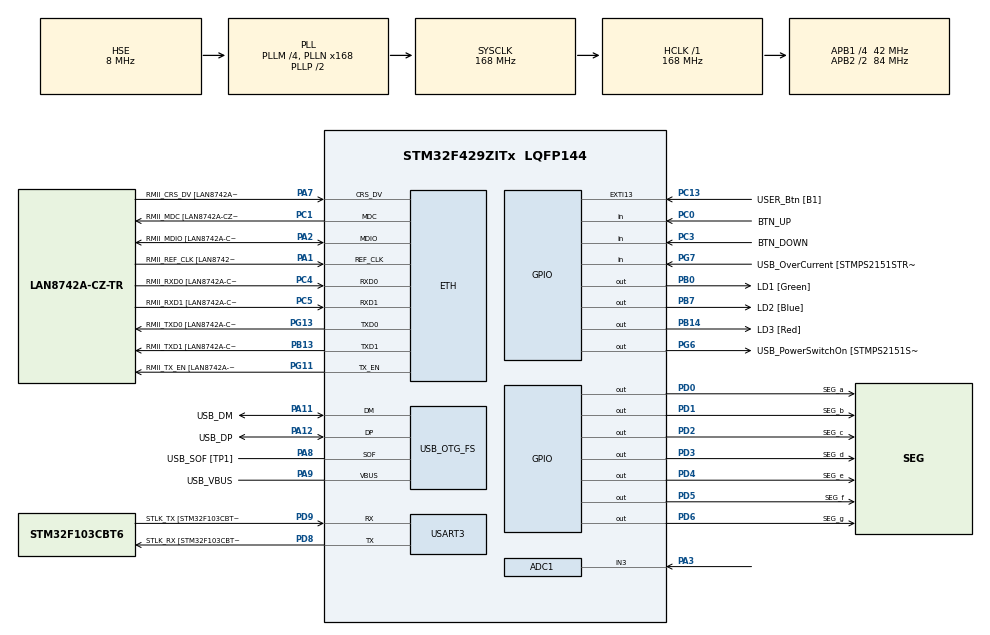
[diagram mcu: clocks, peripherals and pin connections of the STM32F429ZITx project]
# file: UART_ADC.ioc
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ADC1.Channel-0\#ChannelRegularConversion=ADC_CHANNEL_3
ADC1.NbrOfConversionFlag=1
ADC1.Rank-0\#ChannelRegularConversion=1
ADC1.SamplingTime-0\#ChannelRegularConversion=ADC_SAMPLETIME_3CYCLES
ADC1.master=1
ETH.MediaInterface=HAL_ETH_RMII_MODE
ETH.PHY_Name=LAN8742A_PHY_ADDRESS
ETH.PHY_Value=0
ETH.PhyAddress=0
Mcu.Family=STM32F4
Mcu.Name=STM32F429ZITx
Mcu.Package=LQFP144
NVIC.EXTI15_10_IRQn=true\:0\:0\:false\:true\:true\:2\:true\:true\:true
NVIC.PriorityGroup=NVIC_PRIORITYGROUP_4
NVIC.USART3_IRQn=true\:0\:0\:false\:true\:true\:1\:true\:true\:true
PA1.GPIO_Label=RMII_REF_CLK [LAN8742A-CZ-TR_REFCLK0]
PA1.Mode=RMII
PA1.Signal=ETH_REF_CLK
PA10.GPIO_Label=USB_ID
PA10.Signal=USB_OTG_FS_ID
PA11.GPIO_Label=USB_DM
PA11.Mode=Device_Only
PA11.Signal=USB_OTG_FS_DM
PA12.GPIO_Label=USB_DP
PA12.Mode=Device_Only
PA12.Signal=USB_OTG_FS_DP
PA13.GPIO_Label=TMS
PA13.Mode=Serial_Wire
PA13.Signal=SYS_JTMS-SWDIO
PA14.GPIO_Label=TCK
PA14.Mode=Serial_Wire
PA14.Signal=SYS_JTCK-SWCLK
PA2.GPIO_Label=RMII_MDIO [LAN8742A-CZ-TR_MDIO]
PA2.Mode=RMII
PA2.Signal=ETH_MDIO
PA3.Signal=ADCx_IN3
PA7.GPIO_Label=RMII_CRS_DV [LAN8742A-CZ-TR_CRS_DV]
PA7.Mode=RMII
PA7.Signal=ETH_CRS_DV
PA8.GPIO_Label=USB_SOF [TP1]
PA8.Mode=Activate_SOF_FS
PA8.Signal=USB_OTG_FS_SOF
PA9.GPIO_Label=USB_VBUS
PA9.Mode=Activate_VBUS
PA9.Signal=USB_OTG_FS_VBUS
PB0.GPIO_Label=LD1 [Green]
PB0.Signal=GPIO_Output
PB13.GPIO_Label=RMII_TXD1 [LAN8742A-CZ-TR_TXD1]
PB13.Mode=RMII
PB13.Signal=ETH_TXD1
PB14.GPIO_Label=LD3 [Red]
PB14.Signal=GPIO_Output
PB7.GPIO_Label=LD2 [Blue]
PB7.Signal=GPIO_Output
PC0.GPIO_Label=BTN_UP
PC0.GPIO_PuPd=GPIO_PULLUP
PC0.Signal=GPIO_Input
PC1.GPIO_Label=RMII_MDC [LAN8742A-CZ-TR_MDC]
PC1.Mode=RMII
PC1.Signal=ETH_MDC
PC13.GPIO_Label=USER_Btn [B1]
PC13.Signal=GPXTI13
PC14/OSC32_IN.Mode=LSE-External-Oscillator
PC14/OSC32_IN.Signal=RCC_OSC32_IN
PC15/OSC32_OUT.Mode=LSE-External-Oscillator
PC15/OSC32_OUT.Signal=RCC_OSC32_OUT
PC3.GPIO_Label=BTN_DOWN
PC3.GPIO_PuPd=GPIO_PULLUP
PC3.Signal=GPIO_Input
PC4.GPIO_Label=RMII_RXD0 [LAN8742A-CZ-TR_RXD0]
PC4.Mode=RMII
PC4.Signal=ETH_RXD0
PC5.GPIO_Label=RMII_RXD1 [LAN8742A-CZ-TR_RXD1]
PC5.Mode=RMII
PC5.Signal=ETH_RXD1
PD0.GPIO_Label=SEG_a
PD0.GPIO_PuPd=GPIO_NOPULL
PD0.Signal=GPIO_Output
PD1.GPIO_Label=SEG_b
PD1.GPIO_PuPd=GPIO_NOPULL
PD1.Signal=GPIO_Output
PD2.GPIO_Label=SEG_c
PD2.GPIO_PuPd=GPIO_NOPULL
PD2.Signal=GPIO_Output
PD3.GPIO_Label=SEG_d
PD3.GPIO_PuPd=GPIO_NOPULL
PD3.Signal=GPIO_Output
PD4.GPIO_Label=SEG_e
PD4.GPIO_PuPd=GPIO_NOPULL
PD4.Signal=GPIO_Output
PD5.GPIO_Label=SEG_f
PD5.GPIO_PuPd=GPIO_NOPULL
PD5.Signal=GPIO_Output
PD6.GPIO_Label=SEG_g
PD6.GPIO_PuPd=GPIO_NOPULL
PD6.Signal=GPIO_Output
PD8.GPIO_Label=STLK_RX [STM32F103CBT6_PA3]
PD8.Mode=Asynchronous
PD8.Signal=USART3_TX
PD9.GPIO_Label=STLK_TX [STM32F103CBT6_PA2]
PD9.Mode=Asynchronous
PD9.Signal=USART3_RX
PG11.GPIO_Label=RMII_TX_EN [LAN8742A-CZ-TR_TXEN]
PG11.Mode=RMII
PG11.Signal=ETH_TX_EN
PG13.GPIO_Label=RMII_TXD0 [LAN8742A-CZ-TR_TXD0]
PG13.Mode=RMII
PG13.Signal=ETH_TXD0
PG6.GPIO_Label=USB_PowerSwitchOn [STMPS2151STR_EN]
PG6.Signal=GPIO_Output
PG7.GPIO_Label=USB_OverCurrent [STMPS2151STR_FAULT]
PG7.Signal=GPIO_Input
PH0/OSC_IN.GPIO_Label=MCO [STM32F103CBT6_PA8]
PH0/OSC_IN.Mode=HSE-External-Clock-Source
PH0/OSC_IN.Signal=RCC_OSC_IN
PH1/OSC_OUT.Mode=HSE-External-Clock-Source
PH1/OSC_OUT.Signal=RCC_OSC_OUT
ProjectManager.HeapSize=0x200
ProjectManager.StackSize=0x400
ProjectManager.TargetToolchain=STM32CubeIDE
RCC.48MHZClocksFreq_Value=48000000
RCC.AHBFreq_Value=168000000
RCC.APB1CLKDivider=RCC_HCLK_DIV4
RCC.APB1Freq_Value=42000000
RCC.APB1TimFreq_Value=84000000
RCC.APB2CLKDivider=RCC_HCLK_DIV2
RCC.APB2Freq_Value=84000000
RCC.APB2TimCLKDivider=2
RCC.APB2TimFreq_Value=168000000
RCC.CortexFreq_Value=168000000
RCC.HCLKFreq_Value=168000000
RCC.HSE_VALUE=8000000
RCC.HSI_VALUE=16000000
RCC.PLLM=4
RCC.PLLMUL=RCC_PLL_MUL9
RCC.PLLN=168
RCC.PLLQ=7
RCC.PRESCALERUSB=RCC_USBCLKSOURCE_PLL_DIV1_5
RCC.SYSCLKFreq_VALUE=168000000
RCC.SYSCLKSource=RCC_SYSCLKSOURCE_PLLCLK
RCC.SYSCLKSourceVirtual=RCC_SYSCLKSOURCE_PLLCLK
RCC.USBFreq_Value=48000000
RCC.VCOOutputFreq_Value=336000000
SH.ADCx_IN3.0=ADC1_IN3,IN3
USART3.VirtualMode=VM_ASYNC
USB_OTG_FS.VirtualMode=Device_Only
board=NUCLEO-F429ZI

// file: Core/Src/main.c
/* USER CODE BEGIN Header */
#include "stm32f4xx_hal.h"
/**
  ******************************************************************************
  * @file           : main.c
  * @brief          : Main program body
  ******************************************************************************
  * @attention
  *
  * Copyright (c) 2023 STMicroelectronics.
  * All rights reserved.
  *
  * This software is licensed under terms that can be found in the LICENSE file
  * in the root directory of this software component.
  * If no LICENSE file comes with this software, it is provided AS-IS.
  *
  ******************************************************************************
  */
/* USER CODE END Header */
#include "main.h"
#include "adc.h"
#include "eth.h"
#include "usart.h"
#include "usb_otg.h"
#include "gpio.h"
/* USER CODE BEGIN Includes */
#include "stdio.h"
#include "string.h"
/* USER CODE END Includes */

/* USER CODE BEGIN PV */
int counter = 0;
static uint32_t before_tick = 0;
char uart_buf[100];
int adc_value;
char led_value[] = "Green(LD1), Blue(LD2), Red(LD3)";
/* USER CODE END PV */

void SystemClock_Config(void);
static void MX_NVIC_Init(void);
/* USER CODE BEGIN PFP */
static void displayDigit(uint8_t digit);
static void GPIO_Config(void);
/* USER CODE END PFP */

int main(void)
{

  /* MCU Configuration--------------------------------------------------------*/

  /* Reset of all peripherals, Initializes the Flash interface and the Systick. */
  HAL_Init();

  /* Configure the system clock */
  SystemClock_Config();

  /* Initialize all configured peripherals */
  MX_GPIO_Init();
  MX_ETH_Init();
  MX_USART3_UART_Init();
  MX_USB_OTG_FS_PCD_Init();
  MX_ADC1_Init();
  /* Initialize interrupts */
  MX_NVIC_Init();
  /* USER CODE BEGIN 2 */
  HAL_ADC_Start_IT(&hadc1);
  GPIO_Config();
  /* USER CODE END 2 */

  /* Infinite loop */
  /* USER CODE BEGIN WHILE */
  while (1)
  {
	  // Check the state of the Up button
	  if (HAL_GPIO_ReadPin(GPIOC, GPIO_PIN_0) == GPIO_PIN_RESET)
	  {
		if (HAL_GetTick() - before_tick >= 300)
		{
			before_tick = HAL_GetTick();

			counter++;

			if (counter > 9)
			{
			  counter = 0;
			}

			displayDigit(counter);
		}
	  }

	  // Check the state of the Down button
	  else if (HAL_GPIO_ReadPin(GPIOC, GPIO_PIN_3) == GPIO_PIN_RESET)
	  {
		if (HAL_GetTick() - before_tick >= 300)
		{
			before_tick = HAL_GetTick();

			counter--;

			if (counter < 0)
			{
			  counter = 9;
			}

			displayDigit(counter);
		}
	  }

	  HAL_ADC_Start(&hadc1);
	  HAL_ADC_PollForConversion(&hadc1, 10);
	  adc_value = HAL_ADC_GetValue(&hadc1);

	  if (adc_value >= 0 && adc_value <= 1000)
	  {
		  HAL_GPIO_WritePin(GPIOB, LD1_Pin, GPIO_PIN_SET);
		  HAL_GPIO_WritePin(GPIOB, LD2_Pin|LD3_Pin, GPIO_PIN_RESET);
		  strcpy(led_value, "Green(LD1)");
	  }
	  else if (adc_value >= 1001 && adc_value <= 2000)
	  {
		  HAL_GPIO_WritePin(GPIOB, LD2_Pin, GPIO_PIN_SET);
		  HAL_GPIO_WritePin(GPIOB, LD1_Pin|LD3_Pin, GPIO_PIN_RESET);
		  strcpy(led_value, "Blue(LD2)");
	  }
	  else if (adc_value >= 2001 && adc_value <= 4000)
	  {
		  HAL_GPIO_WritePin(GPIOB, LD3_Pin, GPIO_PIN_SET);
		  HAL_GPIO_WritePin(GPIOB, LD1_Pin|LD2_Pin, GPIO_PIN_RESET);
		  strcpy(led_value, "Red(LD3)");
	  }

	  HAL_ADC_Stop(&hadc1);

	  memset(uart_buf, 0, sizeof(uart_buf));
	  sprintf(uart_buf, "ADC Value: %d, LED State: %s, Up/Down Value: %d \r\n", adc_value, led_value, counter);
	  HAL_UART_Transmit(&huart3, (uint8_t *)uart_buf, strlen(uart_buf), HAL_MAX_DELAY);
	  HAL_Delay(250);
    /* USER CODE END WHILE */

  }
}

void SystemClock_Config(void)
{
  RCC_OscInitTypeDef RCC_OscInitStruct = {0};
  RCC_ClkInitTypeDef RCC_ClkInitStruct = {0};

  /** Configure the main internal regulator output voltage
  */
  __HAL_RCC_PWR_CLK_ENABLE();
  __HAL_PWR_VOLTAGESCALING_CONFIG(PWR_REGULATOR_VOLTAGE_SCALE1);

  /** Initializes the RCC Oscillators according to the specified parameters
  * in the RCC_OscInitTypeDef structure.
  */
  RCC_OscInitStruct.OscillatorType = RCC_OSCILLATORTYPE_HSE;
  RCC_OscInitStruct.HSEState = RCC_HSE_BYPASS;
  RCC_OscInitStruct.PLL.PLLState = RCC_PLL_ON;
  RCC_OscInitStruct.PLL.PLLSource = RCC_PLLSOURCE_HSE;
  RCC_OscInitStruct.PLL.PLLM = 4;
  RCC_OscInitStruct.PLL.PLLN = 168;
  RCC_OscInitStruct.PLL.PLLP = RCC_PLLP_DIV2;
  RCC_OscInitStruct.PLL.PLLQ = 7;
  if (HAL_RCC_OscConfig(&RCC_OscInitStruct) != HAL_OK)
  {
    Error_Handler();
  }

  /** Initializes the CPU, AHB and APB buses clocks
  */
  RCC_ClkInitStruct.ClockType = RCC_CLOCKTYPE_HCLK|RCC_CLOCKTYPE_SYSCLK
                              |RCC_CLOCKTYPE_PCLK1|RCC_CLOCKTYPE_PCLK2;
  RCC_ClkInitStruct.SYSCLKSource = RCC_SYSCLKSOURCE_PLLCLK;
  RCC_ClkInitStruct.AHBCLKDivider = RCC_SYSCLK_DIV1;
  RCC_ClkInitStruct.APB1CLKDivider = RCC_HCLK_DIV4;
  RCC_ClkInitStruct.APB2CLKDivider = RCC_HCLK_DIV2;

  if (HAL_RCC_ClockConfig(&RCC_ClkInitStruct, FLASH_LATENCY_5) != HAL_OK)
  {
    Error_Handler();
  }
}

/**
  * @brief NVIC Configuration.
  * @retval None
  */
static void MX_NVIC_Init(void)
{
  /* USART3_IRQn interrupt configuration */
  HAL_NVIC_SetPriority(USART3_IRQn, 0, 0);
  HAL_NVIC_EnableIRQ(USART3_IRQn);
  /* EXTI15_10_IRQn interrupt configuration */
  HAL_NVIC_SetPriority(EXTI15_10_IRQn, 0, 0);
  HAL_NVIC_EnableIRQ(EXTI15_10_IRQn);
}

/* USER CODE BEGIN 4 */
void displayDigit(uint8_t digit)
{
  // Define the 7-segment display patterns for digits 0 to 9
  const uint8_t segmentPatterns[10] = { 0x3F, 0x06, 0x5B, 0x4F, 0x66, 0x6D, 0x7D, 0x07, 0x7F, 0x6F };

  // Output the pattern to the 7-segment display
  HAL_GPIO_WritePin(GPIOD, GPIO_PIN_0, (segmentPatterns[digit] & 0x01) ? GPIO_PIN_RESET : GPIO_PIN_SET);
  HAL_GPIO_WritePin(GPIOD, GPIO_PIN_1, (segmentPatterns[digit] & 0x02) ? GPIO_PIN_RESET : GPIO_PIN_SET);
  HAL_GPIO_WritePin(GPIOD, GPIO_PIN_2, (segmentPatterns[digit] & 0x04) ? GPIO_PIN_RESET : GPIO_PIN_SET);
  HAL_GPIO_WritePin(GPIOD, GPIO_PIN_3, (segmentPatterns[digit] & 0x08) ? GPIO_PIN_RESET : GPIO_PIN_SET);
  HAL_GPIO_WritePin(GPIOD, GPIO_PIN_4, (segmentPatterns[digit] & 0x10) ? GPIO_PIN_RESET : GPIO_PIN_SET);
  HAL_GPIO_WritePin(GPIOD, GPIO_PIN_5, (segmentPatterns[digit] & 0x20) ? GPIO_PIN_RESET : GPIO_PIN_SET);
  HAL_GPIO_WritePin(GPIOD, GPIO_PIN_6, (segmentPatterns[digit] & 0x40) ? GPIO_PIN_RESET : GPIO_PIN_SET);
}

void GPIO_Config(void)
{
	  GPIOB -> MODER |= (1<<14);

	  GPIOB -> OTYPER = 0;
	  GPIOB -> OSPEEDR = 0;
	  GPIOB -> PUPDR &= ~((1<<10) | (1<<11));
}
/* USER CODE END 4 */

void Error_Handler(void)
{
  __disable_irq();
  while (1)
  {
  }
}
